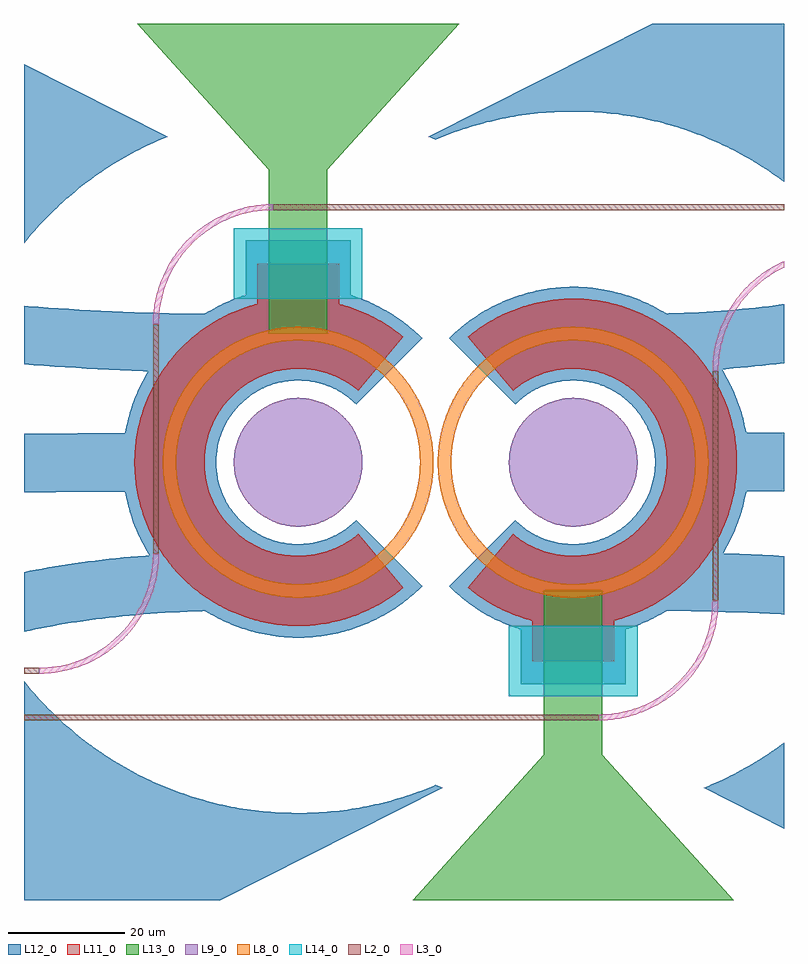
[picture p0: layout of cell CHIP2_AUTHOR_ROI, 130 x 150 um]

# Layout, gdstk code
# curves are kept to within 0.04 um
import gdstk
lib = gdstk.Library(unit=1e-6, precision=1e-10)
def R(c, l, rs):  # rectangles x0, y0, x1, y1
    for r in rs: c.add(gdstk.rectangle(r[:2], r[2:], *l))
def P(c, l, *ps):  # polygons
    for p in ps: c.add(gdstk.Polygon(p, *l))
L2_0 = (2, 0)
L3_0 = (3, 0)
L8_0 = (8, 0)
L9_0 = (9, 0)
L11_0 = (11, 0)
L12_0 = (12, 0)
L13_0 = (13, 0)
L14_0 = (14, 0)

chip2_author_roi = lib.new_cell('CHIP2_AUTHOR_ROI')
R(chip2_author_roi, L2_0, [(-65,-44.2,-62.43,-43.2), (-62.43,-44.2,33.27,-43.2), (-65,-36.2,-62.43,-35.2), (52.77,-23.7,53.77,15.6), (-42.93,-15.7,-41.93,23.6), (-22.43,43.1,65,44.1)])
P(chip2_author_roi, L3_0, [(33.27,-44.2),(33.27,-43.2),(35.562,-43.065),(37.449,-42.747),(39.659,-42.124),(41.78,-41.245),(43.13,-40.523),(44.42,-39.698),(45.641,-38.774),(47.059,-37.489),(48.344,-36.071),(49.268,-34.85),(50.093,-33.56),(50.815,-32.21),(51.694,-30.089),(52.317,-27.879),(52.635,-25.992),(52.77,-23.7),(53.77,-23.7),(53.671,-25.709),(53.376,-27.699),(52.887,-29.651),(52.21,-31.545),(51.349,-33.364),(50.315,-35.089),(49.117,-36.705),(47.766,-38.196),(46.275,-39.547),(44.659,-40.745),(42.934,-41.779),(41.115,-42.64),(39.221,-43.317),(37.269,-43.806),(35.279,-44.101)],
  [(52.77,15.6),(53.77,15.6),(53.83,17.13),(54.01,18.65),(54.223,19.779),(54.61,21.261),(55.111,22.707),(55.561,23.764),(56.256,25.128),(57.056,26.434),(57.956,27.672),(58.694,28.553),(59.481,29.389),(60.606,30.428),(61.808,31.376),(62.757,32.023),(63.742,32.614),(65,33.2588),(65,34.3573),(63.606,33.679),(62.218,32.865),(61.22,32.185),(59.956,31.188),(58.774,30.096),(57.682,28.914),(56.685,27.65),(56.005,26.652),(55.384,25.617),(54.653,24.183),(54.037,22.695),(53.54,21.165),(53.246,19.993),(52.963,18.409),(52.833,17.208)],
  [(-62.43,-36.2),(-62.43,-35.2),(-60.138,-35.065),(-58.251,-34.747),(-56.041,-34.124),(-53.92,-33.245),(-52.57,-32.523),(-51.28,-31.698),(-50.059,-30.774),(-48.641,-29.489),(-47.356,-28.071),(-46.432,-26.85),(-45.607,-25.56),(-44.885,-24.21),(-44.006,-22.089),(-43.383,-19.879),(-43.065,-17.992),(-42.93,-15.7),(-41.93,-15.7),(-42.029,-17.709),(-42.324,-19.699),(-42.813,-21.651),(-43.49,-23.545),(-44.351,-25.364),(-45.385,-27.089),(-46.583,-28.705),(-47.934,-30.196),(-49.425,-31.547),(-51.041,-32.745),(-52.766,-33.779),(-54.585,-34.64),(-56.479,-35.317),(-58.431,-35.806),(-60.421,-36.101)],
  [(-42.93,23.6),(-42.831,25.609),(-42.536,27.599),(-42.047,29.551),(-41.37,31.445),(-40.509,33.264),(-39.475,34.989),(-38.277,36.605),(-36.926,38.096),(-35.435,39.447),(-33.819,40.645),(-32.094,41.679),(-30.275,42.54),(-28.381,43.217),(-26.429,43.706),(-24.439,44.001),(-22.43,44.1),(-22.43,43.1),(-24.722,42.965),(-26.609,42.647),(-28.819,42.024),(-30.94,41.145),(-32.29,40.423),(-33.58,39.598),(-34.801,38.674),(-36.219,37.389),(-37.504,35.971),(-38.428,34.75),(-39.253,33.46),(-39.975,32.11),(-40.854,29.989),(-41.477,27.779),(-41.795,25.892),(-41.93,23.6)])
P(chip2_author_roi, L8_0, [(29.164,-23.199),(31.78,-23.026),(34.36,-22.558),(36.688,-21.867),(39.093,-20.857),(29.054,-20.9),(18.796,-20.857),(21.248,-21.883),(23.861,-22.635),(26.448,-23.065),(27.804,-23.172)],
  [(27.568,-20.854),(25.828,-20.666),(23.941,-20.291),(22.096,-19.743),(20.269,-19.009),(15.66,-19.009),(17.202,-20.001),(18.796,-20.857)],
  [(39.105,-20.851),(40.73,-19.976),(42.23,-19.009),(37.621,-19.009),(36.001,-19.67),(34.077,-20.259),(32.192,-20.646),(30.279,-20.857)],
  [(20.229,-18.991),(18.901,-18.321),(17.624,-17.559),(16.265,-16.601),(15.019,-15.568),(11.766,-15.568),(13.592,-17.377),(15.66,-19.009)],
  [(42.28,-18.974),(44.334,-17.345),(46.124,-15.568),(42.87,-15.568),(41.59,-16.628),(40.303,-17.535),(39.104,-18.258),(37.621,-19.009)],
  [(14.987,-15.539),(13.918,-14.504),(12.87,-13.329),(12.015,-12.22),(11.191,-10.982),(8.539,-10.982),(9.232,-12.188),(9.979,-13.325),(10.852,-14.492),(11.766,-15.568)],
  [(46.126,-15.566),(47.008,-14.53),(47.883,-13.365),(48.632,-12.23),(49.351,-10.982),(46.699,-10.982),(45.9,-12.185),(44.992,-13.363),(44.002,-14.473),(42.87,-15.568)],
  [(11.145,-10.908),(10.416,-9.611),(9.782,-8.266),(9.216,-6.796),(8.83,-5.536),(6.455,-5.536),(6.801,-6.801),(7.304,-8.271),(7.904,-9.705),(8.539,-10.982),(11.191,-10.982)],
  [(49.359,-10.967),(50.006,-9.661),(50.569,-8.317),(51.075,-6.847),(51.436,-5.536),(49.06,-5.536),(48.602,-7.003),(48.091,-8.306),(47.413,-9.728),(46.699,-10.982)],
  [(5.797,-0.39),(5.984,-3.005),(6.455,-5.536),(8.83,-5.536),(8.508,-4.179),(8.277,-2.799),(8.145,-1.493),(8.095,-0.138),(5.795,-0.138)],
  [(51.458,-5.441),(51.924,-2.861),(52.095,-0.138),(49.795,-0.138),(49.754,-1.362),(49.619,-2.755),(49.391,-4.136),(49.06,-5.536),(51.436,-5.536)],
  [(8.095,0.081),(8.151,1.48),(8.277,2.699),(8.508,4.079),(8.843,5.484),(6.466,5.484),(6.162,4.058),(5.96,2.713),(5.832,1.261),(5.795,-0.138),(8.095,-0.138)],
  [(52.095,0.047),(51.924,2.761),(51.719,4.105),(51.424,5.484),(49.047,5.484),(49.391,4.036),(49.619,2.655),(49.754,1.262),(49.795,-0.138),(52.095,-0.138)],
  [(8.854,5.526),(9.362,7.109),(9.887,8.406),(10.538,9.744),(11.214,10.92),(8.559,10.92),(7.745,9.25),(7.04,7.44),(6.466,5.484),(8.843,5.484)],
  [(51.412,5.53),(51.017,6.933),(50.569,8.217),(50.006,9.561),(49.33,10.92),(46.676,10.92),(47.413,9.628),(48.091,8.206),(48.602,6.903),(49.047,5.484),(51.424,5.484)],
  [(11.237,10.957),(12.015,12.12),(12.982,13.363),(14.04,14.53),(15.058,15.502),(11.797,15.502),(11.221,14.843),(9.759,12.905),(8.559,10.92)],
  [(49.313,10.952),(48.632,12.13),(47.883,13.265),(47.008,14.43),(46.093,15.502),(42.832,15.502),(43.88,14.499),(44.936,13.33),(45.798,12.227),(46.676,10.92)],
  [(15.118,15.555),(16.265,16.501),(17.624,17.459),(19.055,18.305),(20.376,18.957),(15.73,18.957),(13.592,17.277),(11.797,15.502),(15.058,15.502)],
  [(46.061,15.538),(44.115,17.437),(42.161,18.957),(37.514,18.957),(38.874,18.284),(40.303,17.435),(41.59,16.528),(42.832,15.502)],
  [(20.549,19.035),(22.261,19.7),(23.941,20.191),(25.828,20.566),(27.707,20.763),(18.809,20.763),(17.202,19.901),(15.73,18.957),(20.376,18.957)],
  [(41.96,19.095),(40.478,20.023),(39.081,20.763),(30.191,20.763),(31.932,20.585),(33.822,20.222),(35.67,19.686),(37.514,18.957),(42.161,18.957)],
  [(39.018,20.794),(36.688,21.767),(35.3,22.211),(33.981,22.546),(31.49,22.96),(28.872,23.1),(26.448,22.965),(23.861,22.535),(21.248,21.783),(18.809,20.763)],
  [(-17.886,-23.199),(-15.27,-23.026),(-12.69,-22.558),(-10.362,-21.867),(-7.957,-20.857),(-17.996,-20.9),(-28.254,-20.857),(-25.802,-21.883),(-23.189,-22.635),(-20.602,-23.065),(-19.246,-23.172)],
  [(-19.482,-20.854),(-21.222,-20.666),(-23.109,-20.291),(-24.954,-19.743),(-26.781,-19.009),(-31.39,-19.009),(-29.848,-20.001),(-28.254,-20.857)],
  [(-7.945,-20.851),(-6.32,-19.976),(-4.82,-19.009),(-9.429,-19.009),(-11.049,-19.67),(-12.973,-20.259),(-14.858,-20.646),(-16.771,-20.857)],
  [(-26.821,-18.991),(-28.149,-18.321),(-29.426,-17.559),(-30.785,-16.601),(-32.031,-15.568),(-35.284,-15.568),(-33.458,-17.377),(-31.39,-19.009)],
  [(-4.77,-18.974),(-2.716,-17.345),(-0.926,-15.568),(-4.18,-15.568),(-5.46,-16.628),(-6.747,-17.535),(-7.946,-18.258),(-9.429,-19.009)],
  [(-32.063,-15.539),(-33.132,-14.504),(-34.18,-13.329),(-35.035,-12.22),(-35.859,-10.982),(-38.511,-10.982),(-37.818,-12.188),(-37.071,-13.325),(-36.198,-14.492),(-35.284,-15.568)],
  [(-0.924,-15.566),(-0.042,-14.53),(0.833,-13.365),(1.582,-12.23),(2.301,-10.982),(-0.351,-10.982),(-1.15,-12.185),(-2.058,-13.363),(-3.048,-14.473),(-4.18,-15.568)],
  [(-35.905,-10.908),(-36.634,-9.611),(-37.268,-8.266),(-37.834,-6.796),(-38.22,-5.536),(-40.596,-5.536),(-40.249,-6.801),(-39.746,-8.271),(-39.146,-9.705),(-38.511,-10.982),(-35.859,-10.982)],
  [(2.309,-10.967),(2.956,-9.661),(3.519,-8.317),(4.025,-6.847),(4.386,-5.536),(2.01,-5.536),(1.552,-7.003),(1.041,-8.306),(0.363,-9.728),(-0.351,-10.982)],
  [(-41.253,-0.39),(-41.066,-3.005),(-40.596,-5.536),(-38.22,-5.536),(-38.542,-4.179),(-38.773,-2.799),(-38.905,-1.493),(-38.955,-0.138),(-41.255,-0.138)],
  [(4.408,-5.441),(4.874,-2.861),(5.045,-0.138),(2.745,-0.138),(2.704,-1.362),(2.569,-2.755),(2.341,-4.136),(2.01,-5.536),(4.386,-5.536)],
  [(-38.955,0.081),(-38.899,1.48),(-38.773,2.699),(-38.542,4.079),(-38.207,5.484),(-40.584,5.484),(-40.888,4.058),(-41.09,2.713),(-41.218,1.261),(-41.255,-0.138),(-38.955,-0.138)],
  [(5.045,0.047),(4.874,2.761),(4.669,4.105),(4.374,5.484),(1.997,5.484),(2.341,4.036),(2.569,2.655),(2.704,1.262),(2.745,-0.138),(5.045,-0.138)],
  [(-38.196,5.526),(-37.688,7.109),(-37.163,8.406),(-36.512,9.744),(-35.836,10.92),(-38.491,10.92),(-39.305,9.25),(-40.01,7.44),(-40.584,5.484),(-38.207,5.484)],
  [(4.362,5.53),(3.967,6.933),(3.519,8.217),(2.956,9.561),(2.28,10.92),(-0.374,10.92),(0.363,9.628),(1.041,8.206),(1.552,6.903),(1.997,5.484),(4.374,5.484)],
  [(-35.813,10.957),(-35.035,12.12),(-34.068,13.363),(-33.01,14.53),(-31.992,15.502),(-35.253,15.502),(-35.829,14.843),(-37.291,12.905),(-38.491,10.92)],
  [(2.263,10.952),(1.582,12.13),(0.833,13.265),(-0.042,14.43),(-0.956,15.502),(-4.218,15.502),(-3.17,14.499),(-2.114,13.33),(-1.252,12.227),(-0.374,10.92)],
  [(-31.932,15.555),(-30.785,16.501),(-29.426,17.459),(-27.995,18.305),(-26.674,18.957),(-31.32,18.957),(-33.458,17.277),(-35.253,15.502),(-31.992,15.502)],
  [(-0.989,15.538),(-2.935,17.437),(-4.889,18.957),(-9.536,18.957),(-8.176,18.284),(-6.747,17.435),(-5.46,16.528),(-4.218,15.502)],
  [(-26.501,19.035),(-24.789,19.7),(-23.109,20.191),(-21.222,20.566),(-19.343,20.763),(-28.241,20.763),(-29.848,19.901),(-31.32,18.957),(-26.674,18.957)],
  [(-5.09,19.095),(-6.572,20.023),(-7.969,20.763),(-16.859,20.763),(-15.118,20.585),(-13.228,20.222),(-11.38,19.686),(-9.536,18.957),(-4.889,18.957)],
  [(-8.032,20.794),(-10.362,21.767),(-11.75,22.211),(-13.069,22.546),(-15.56,22.96),(-18.178,23.1),(-20.602,22.965),(-23.189,22.535),(-25.802,21.783),(-28.241,20.763)])
P(chip2_author_roi, L9_0, [(-17.957,10.949),(-19.137,10.901),(-20.305,10.728),(-21.448,10.43),(-22.28,10.127),(-23.347,9.621),(-24.354,9.003),(-25.062,8.471),(-25.935,7.676),(-26.531,7.021),(-27.241,6.077),(-27.845,5.062),(-28.225,4.262),(-28.629,3.152),(-28.852,2.295),(-29.042,1.129),(-29.105,-0.05),(-29.042,-1.229),(-28.852,-2.395),(-28.629,-3.252),(-28.225,-4.362),(-27.845,-5.162),(-27.241,-6.177),(-26.531,-7.121),(-25.935,-7.776),(-25.062,-8.571),(-24.354,-9.103),(-23.347,-9.721),(-22.28,-10.227),(-21.448,-10.53),(-20.305,-10.828),(-19.431,-10.97),(-18.253,-11.049),(-17.957,-11.049)],
  [(-17.662,-11.041),(-16.779,-10.97),(-15.616,-10.765),(-14.482,-10.436),(-13.389,-9.988),(-12.351,-9.425),(-11.615,-8.932),(-10.922,-8.381),(-10.07,-7.563),(-9.311,-6.658),(-8.808,-5.929),(-8.231,-4.899),(-7.873,-4.088),(-7.581,-3.252),(-7.299,-2.105),(-7.168,-1.229),(-7.105,-0.05),(-7.168,1.129),(-7.358,2.295),(-7.581,3.152),(-7.985,4.262),(-8.365,5.062),(-8.969,6.077),(-9.679,7.021),(-10.275,7.676),(-11.148,8.471),(-11.856,9.003),(-12.863,9.621),(-13.93,10.127),(-14.762,10.43),(-15.905,10.728),(-16.779,10.87),(-17.957,10.949),(-17.957,-11.049)],
  [(29.093,10.949),(27.913,10.901),(26.745,10.728),(25.602,10.43),(24.77,10.127),(23.703,9.621),(22.696,9.003),(21.988,8.471),(21.115,7.676),(20.519,7.021),(19.809,6.077),(19.205,5.062),(18.825,4.262),(18.421,3.152),(18.198,2.295),(18.008,1.129),(17.945,-0.05),(18.008,-1.229),(18.198,-2.395),(18.421,-3.252),(18.825,-4.362),(19.205,-5.162),(19.809,-6.177),(20.519,-7.121),(21.115,-7.776),(21.988,-8.571),(22.696,-9.103),(23.703,-9.721),(24.77,-10.227),(25.602,-10.53),(26.745,-10.828),(27.619,-10.97),(28.797,-11.049),(29.093,-11.049)],
  [(29.388,-11.041),(30.271,-10.97),(31.434,-10.765),(32.568,-10.436),(33.661,-9.988),(34.699,-9.425),(35.435,-8.932),(36.128,-8.381),(36.98,-7.563),(37.739,-6.658),(38.242,-5.929),(38.819,-4.899),(39.177,-4.088),(39.469,-3.252),(39.751,-2.105),(39.882,-1.229),(39.945,-0.05),(39.882,1.129),(39.692,2.295),(39.469,3.152),(39.065,4.262),(38.685,5.062),(38.081,6.077),(37.371,7.021),(36.775,7.676),(35.902,8.471),(35.194,9.003),(34.187,9.621),(33.12,10.127),(32.288,10.43),(31.145,10.728),(30.271,10.87),(29.093,10.949),(29.093,-11.049)])
P(chip2_author_roi, L11_0, [(-17.522,-28.044),(-15.156,-27.894),(-12.812,-27.545),(-10.506,-26.999),(-8.255,-26.26),(-6.074,-25.333),(-3.979,-24.225),(-1.985,-22.944),(-0.107,-21.499),(-6.381,-14.022),(-10.31,-14.022),(-12.093,-14.878),(-14.13,-15.548),(-16.238,-15.941),(-18.022,-16.05),(-19.808,-15.959),(-21.92,-15.589),(-23.963,-14.939),(-25.902,-14.022),(-42.369,-14.022),(-41.592,-15.294),(-40.506,-16.848),(-39.318,-18.326),(-38.032,-19.72),(-36.656,-21.023),(-35.194,-22.231),(-33.653,-23.336),(-32.042,-24.335),(-30.366,-25.223),(-28.635,-25.995),(-26.855,-26.648),(-25.034,-27.179),(-23.182,-27.586),(-21.307,-27.866),(-19.417,-28.019)],
  [(-26.212,-13.844),(-27.7,-12.854),(-29.326,-11.456),(-30.528,-10.133),(-31.575,-8.684),(-32.609,-6.806),(-33.272,-5.146),(-33.746,-3.422),(-34.024,-1.657),(-34.104,0.129),(-33.984,1.912),(-33.579,4.018),(-33.029,5.719),(-32.292,7.347),(-31.379,8.883),(-30.3,10.308),(-29.068,11.604),(-43.564,11.604),(-44.185,10.141),(-44.815,8.352),(-45.207,6.985),(-45.621,5.135),(-45.909,3.261),(-46.041,1.845),(-46.101,0.424),(-46.069,-1.472),(-45.909,-3.361),(-45.705,-4.768),(-45.322,-6.625),(-44.953,-7.999),(-44.515,-9.352),(-43.825,-11.118),(-43.23,-12.41),(-42.369,-14.022),(-25.902,-14.022)],
  [(-7.82,-12.307),(-8.097,-12.534),(-8.378,-12.754),(-8.665,-12.968),(-8.956,-13.176),(-9.252,-13.377),(-9.552,-13.572),(-9.856,-13.76),(-10.165,-13.941),(-10.31,-14.022),(-6.381,-14.022)],
  [(-28.805,11.846),(-27.7,12.754),(-26.518,13.559),(-25.269,14.256),(-23.963,14.839),(-22.61,15.303),(-21.221,15.644),(-19.808,15.859),(-18.38,15.948),(-16.95,15.908),(-15.53,15.741),(-14.13,15.448),(-12.762,15.032),(-11.437,14.494),(-10.165,13.841),(-8.956,13.076),(-7.82,12.207),(-0.107,21.399),(-2.375,23.114),(-3.572,23.883),(-5.225,24.812),(-6.937,25.626),(-8.255,26.16),(-9.598,26.627),(-11.105,27.06),(-11.105,33.95),(-25.105,33.95),(-25.105,27.06),(-26.855,26.548),(-28.194,26.069),(-30.791,24.911),(-33.257,23.496),(-34.816,22.417),(-35.935,21.539),(-37.008,20.606),(-38.363,19.279),(-40.219,17.125),(-41.062,15.98),(-42.094,14.39),(-42.797,13.153),(-43.564,11.604),(-29.068,11.604)],
  [(35.945,-27.16),(37.695,-26.648),(39.034,-26.169),(40.778,-25.427),(42.052,-24.793),(43.291,-24.096),(44.885,-23.07),(47.138,-21.334),(48.537,-20.054),(49.527,-19.034),(51.346,-16.848),(52.432,-15.294),(53.175,-14.082),(54.474,-11.552),(40.066,-11.552),(38.824,-12.636),(37.66,-13.468),(36.427,-14.193),(35.135,-14.804),(33.45,-15.403),(32.061,-15.744),(30.648,-15.959),(29.22,-16.048),(27.79,-16.008),(26.37,-15.841),(24.97,-15.548),(23.602,-15.132),(22.277,-14.594),(21.005,-13.941),(19.796,-13.176),(18.66,-12.307),(10.947,-21.499),(13.215,-23.214),(14.412,-23.983),(16.065,-24.912),(17.777,-25.726),(19.095,-26.26),(20.438,-26.727),(21.945,-27.16),(21.945,-34.05),(35.945,-34.05)],
  [(18.937,12.434),(19.218,12.654),(19.505,12.868),(19.796,13.076),(20.092,13.277),(20.392,13.472),(20.696,13.66),(21.005,13.841),(21.258,13.982),(17.171,13.982),(18.66,12.207)],
  [(54.665,-11.118),(55.355,-9.352),(55.793,-7.999),(56.162,-6.625),(56.545,-4.768),(56.749,-3.361),(56.909,-1.472),(56.941,0.424),(56.881,1.845),(56.749,3.261),(56.461,5.135),(56.047,6.985),(55.655,8.352),(55.025,10.141),(54.474,11.452),(53.175,13.982),(36.631,13.982),(38.251,12.965),(39.645,11.846),(41.14,10.308),(42.219,8.883),(43.132,7.347),(43.869,5.719),(44.419,4.018),(44.824,1.912),(44.944,0.129),(44.864,-1.657),(44.586,-3.422),(43.994,-5.484),(43.294,-7.128),(42.415,-8.684),(41.368,-10.133),(40.066,-11.552),(54.474,-11.552)],
  [(52.934,14.39),(51.346,16.748),(49.527,18.934),(47.496,20.923),(46.034,22.131),(44.885,22.97),(42.469,24.468),(40.778,25.327),(39.475,25.895),(37.695,26.548),(36.333,26.958),(33.556,27.568),(30.731,27.893),(27.888,27.93),(25.055,27.679),(23.188,27.352),(21.804,27.024),(20.438,26.627),(18.652,25.99),(16.065,24.812),(14.412,23.883),(13.215,23.114),(10.947,21.399),(17.171,13.982),(21.258,13.982),(22.933,14.778),(24.97,15.448),(27.078,15.841),(28.862,15.95),(30.648,15.859),(32.76,15.489),(34.803,14.839),(36.631,13.982),(53.175,13.982)])
P(chip2_author_roi, L12_0, [(-17.534,-30.045),(-14.607,-29.845),(-12.192,-29.462),(-9.348,-28.743),(-6.587,-27.751),(-3.936,-26.493),(-1.421,-24.983),(0.935,-23.234),(3.108,-21.263),(-5.269,-12.886),(-12.519,-12.886),(-13.874,-13.395),(-15.169,-13.739),(-16.49,-13.957),(-18.161,-14.05),(-19.498,-13.981),(-20.823,-13.784),(-22.442,-13.361),(-23.694,-12.886),(-45.219,-12.886),(-44.234,-14.79),(-43.218,-16.462),(-41.798,-18.453),(-40.548,-19.958),(-39.203,-21.378),(-37.396,-23.025),(-35.857,-24.234),(-33.829,-25.599),(-32.13,-26.57),(-29.924,-27.624),(-28.101,-28.336),(-25.765,-29.056),(-23.858,-29.493),(-21.926,-29.806),(-19.491,-30.018)],
  [(-23.999,-12.749),(-25.472,-11.955),(-26.84,-10.991),(-28.083,-9.87),(-29.184,-8.61),(-30.294,-6.937),(-31.029,-5.433),(-31.579,-3.853),(-31.936,-2.218),(-32.096,-0.552),(-32.056,1.121),(-31.817,2.777),(-31.271,4.709),(-30.609,6.246),(-29.769,7.693),(-28.762,9.03),(-27.518,10.312),(-46.258,10.312),(-47.152,7.452),(-47.746,4.579),(-48.056,1.661),(-48.08,-1.273),(-47.817,-4.195),(-47.27,-7.077),(-46.444,-9.892),(-45.929,-11.266),(-45.219,-12.886),(-23.694,-12.886)],
  [(-7.743,10.312),(-8.69,10.312),(-8.445,10.083),(-8.206,9.849)],
  [(-8.206,-9.949),(-9.197,-10.85),(-10.269,-11.652),(-11.413,-12.347),(-12.519,-12.886),(-5.269,-12.886)],
  [(3.108,21.163),(1.68,22.501),(0.169,23.742),(-1.421,24.883),(-2.66,25.669),(-4.369,26.621),(-5.69,27.26),(-7.496,28.012),(-9.105,28.567),(-9.105,37.95),(-27.105,37.95),(-27.105,28.567),(-28.561,28.069),(-30.372,27.328),(-32.13,26.47),(-33.41,25.752),(-35.059,24.7),(-36.249,23.841),(-37.768,22.608),(-38.852,21.619),(-39.887,20.579),(-41.185,19.115),(-42.095,17.964),(-43.218,16.362),(-44.234,14.69),(-44.923,13.395),(-45.549,12.068),(-46.258,10.312),(-27.518,10.312),(-26.576,11.096),(-25.472,11.855),(-24.301,12.504),(-23.073,13.039),(-22.122,13.361),(-20.823,13.684),(-19.498,13.881),(-18.161,13.95),(-17.157,13.918),(-15.827,13.763),(-14.517,13.483),(-13.556,13.19),(-12.312,12.695),(-11.121,12.084),(-9.723,11.164),(-8.69,10.312),(-7.743,10.312)],
  [(-65,16.7034),(-54.233,15.983),(-44.561,15.564),(-34.309,15.327),(-21.53,15.27),(-21.518,25.27),(-34.174,25.326),(-44.23,25.559),(-55.519,26.071),(-65,26.7375)],
  [(32.354,25.265),(32.374,15.265),(41.399,15.306),(49.746,15.577),(57.546,16.115),(65,16.9256),(65,27.0162),(57.85,26.185),(50.517,25.633),(42.619,25.33)],
  [(45.941,4.946),(45.949,-5.054),(50.949,-5.05),(54.6,-5.047),(58.655,-5.036),(62.657,-5.017),(65,-5.0016),(65,4.9989),(62.6,4.983),(58.618,4.964),(54.582,4.953),(50.941,4.95)],
  [(37.945,-28.667),(39.401,-28.169),(41.212,-27.428),(42.97,-26.57),(44.25,-25.852),(45.899,-24.8),(47.089,-23.941),(48.608,-22.708),(49.692,-21.719),(50.727,-20.679),(52.025,-19.215),(52.935,-18.064),(54.058,-16.462),(55.074,-14.79),(55.763,-13.495),(56.583,-11.719),(57.12,-10.353),(38.423,-10.353),(37.416,-11.196),(36.312,-11.955),(35.141,-12.604),(33.913,-13.139),(32.962,-13.461),(31.663,-13.784),(30.338,-13.981),(29.001,-14.05),(27.663,-13.991),(26.337,-13.805),(25.357,-13.583),(24.081,-13.178),(22.849,-12.653),(21.673,-12.013),(20.563,-11.264),(19.467,-10.353),(18.642,-10.353),(7.732,-21.263),(9.16,-22.601),(10.671,-23.842),(12.261,-24.983),(13.5,-25.769),(15.209,-26.721),(16.53,-27.36),(18.336,-28.112),(19.945,-28.667),(19.945,-38.05),(37.945,-38.05)],
  [(19.285,10.083),(20.297,10.96),(21.109,11.552),(22.253,12.247),(23.459,12.83),(16.065,12.83),(19.046,9.849)],
  [(57.284,-9.892),(58.11,-7.077),(58.657,-4.195),(58.92,-1.273),(58.896,1.661),(58.586,4.579),(57.992,7.452),(57.12,10.253),(56.038,12.83),(34.429,12.83),(36.025,12.028),(37.416,11.096),(38.685,10.006),(39.816,8.772),(40.791,7.412),(41.736,5.641),(42.324,4.074),(42.72,2.448),(42.92,0.787),(42.896,-1.221),(42.657,-2.877),(42.221,-4.493),(41.449,-6.346),(40.609,-7.793),(39.602,-9.13),(38.423,-10.353),(57.12,-10.353)],
  [(19.285,-10.183),(19.046,-9.949),(18.642,-10.353),(19.467,-10.353)],
  [(55.979,12.956),(55.074,14.69),(54.058,16.362),(52.935,17.964),(52.025,19.115),(50.727,20.579),(49.336,21.955),(48.236,22.925),(46.697,24.134),(45.083,25.24),(43.827,25.998),(42.536,26.695),(40.764,27.524),(38.941,28.236),(37.546,28.691),(35.655,29.19),(33.735,29.565),(31.794,29.814),(29.842,29.937),(28.374,29.945),(26.421,29.844),(24.962,29.684),(23.032,29.362),(21.128,28.914),(19.721,28.497),(18.336,28.012),(16.53,27.26),(15.209,26.621),(13.5,25.669),(12.261,24.883),(10.671,23.742),(9.16,22.501),(7.732,21.163),(16.065,12.83),(23.459,12.83),(24.714,13.295),(26.009,13.639),(27.33,13.857),(29.001,13.95),(30.338,13.881),(31.663,13.684),(32.962,13.361),(34.429,12.83),(56.038,12.83)],
  [(-65,-29.0438),(-60.098,-28.06),(-54.89,-27.218),(-49.334,-26.521),(-44.627,-26.075),(-39.677,-25.733),(-34.476,-25.502),(-29.015,-25.387),(-21.514,-25.365),(-21.534,-15.365),(-29.112,-15.388),(-34.802,-15.507),(-40.243,-15.749),(-45.442,-16.108),(-50.41,-16.579),(-55.156,-17.158),(-59.689,-17.841),(-65,-18.8205)],
  [(-65,-5.205),(-51.76,-5.083),(-35.101,-5.046),(-35.109,4.954),(-51.817,4.917),(-65,4.7956)],
  [(32.358,-25.37),(40.82,-25.386),(49.109,-25.497),(57.01,-25.727),(65,-26.095),(65,-16.0792),(57.381,-15.734),(49.321,-15.499),(40.88,-15.386),(32.37,-15.37)],
  [(-65,-75),(-31.456,-75),(6.651,-55.754),(5.419,-55.245),(1.747,-56.671),(-2.214,-57.907),(-6.251,-58.867),(-10.345,-59.546),(-13.785,-59.894),(-17.24,-60.044),(-20.698,-59.994),(-24.147,-59.745),(-28.259,-59.185),(-32.322,-58.341),(-36.317,-57.219),(-39.58,-56.075),(-43.401,-54.457),(-46.494,-52.909),(-50.079,-50.821),(-53.231,-48.692),(-65,-48.692)],
  [(51.238,-55.754),(65,-62.7043),(65,-48.692),(64.072,-48.692),(60.626,-51.004),(57.638,-52.745),(54.554,-54.31)],
  [(-65,-48.692),(-53.231,-48.692),(-56.244,-46.369),(-59.354,-43.622),(-62.267,-40.667),(-65,-37.4777)],
  [(64.072,-48.692),(65,-48.692),(65,-48.0078),(64.631,-48.284)],
  [(4.188,55.654),(5.419,55.145),(9.42,56.684),(13.388,57.898),(16.076,58.554),(18.11,58.964),(22.215,59.571),(25.661,59.86),(29.118,59.95),(32.574,59.84),(36.705,59.446),(40.12,58.9),(44.168,57.987),(48.143,56.796),(51.386,55.595),(54.554,54.21),(58.243,52.31),(61.792,50.16),(65,47.9078),(65,75),(42.4935,75)],
  [(-65,37.3777),(-62.732,40.055),(-59.854,43.044),(-57.302,45.377),(-54.068,47.978),(-50.662,50.349),(-47.705,52.141),(-44.027,54.062),(-40.399,55.654),(-65,68.0788)])
P(chip2_author_roi, L13_0, [(-45.65,75),(-23.105,49.95),(-23.105,21.95),(-13.105,21.95),(-13.105,49.95),(9.44,75)],
  [(1.49,-75),(56.4,-75),(33.945,-50.05),(33.945,-22.05),(23.945,-22.05),(23.945,-50.05)])
P(chip2_author_roi, L14_0, [(-7.105,30.95),(-7.105,33.95),(-7.105,36.95),(-7.105,39.95),(-29.105,39.95),(-29.105,36.95),(-29.105,33.95),(-29.105,30.95),(-29.105,27.95),(-7.105,27.95)],
  [(17.945,-31.05),(17.945,-34.05),(17.945,-37.05),(17.945,-40.05),(39.945,-40.05),(39.945,-37.05),(39.945,-34.05),(39.945,-31.05),(39.945,-28.05),(17.945,-28.05)])

lib.write_gds('CHIP2_AUTHOR_ROI.gds')
